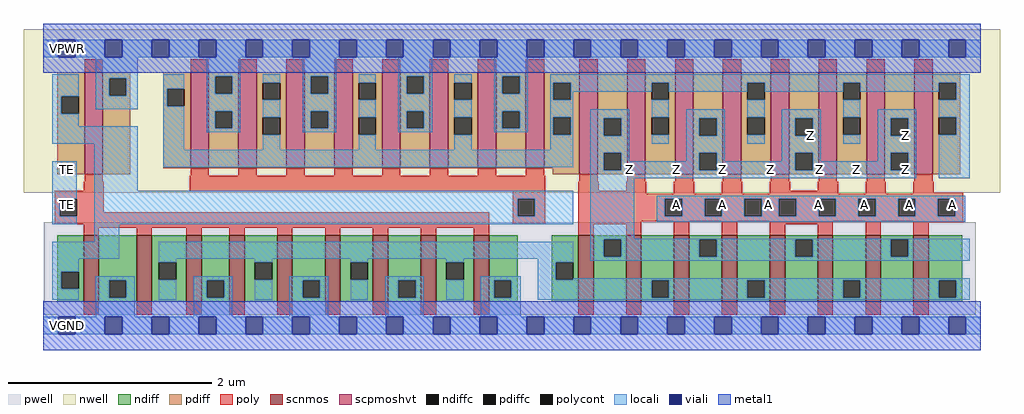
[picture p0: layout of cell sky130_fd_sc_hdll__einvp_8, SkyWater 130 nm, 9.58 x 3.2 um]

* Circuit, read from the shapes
.subckt sky130_fd_sc_hdll__einvp_8 A TE VGND VNB VPB VPWR Z
XM1 VGND TE n1 VNB sky130_fd_pr__nfet_01v8 w=0.65 l=0.15
XM2 n2 TE VGND VNB sky130_fd_pr__nfet_01v8 w=0.65 l=0.15 m=8
XM3 Z A n2 VNB sky130_fd_pr__nfet_01v8 w=0.65 l=0.15 m=8
XM4 VPWR TE n1 VPB sky130_fd_pr__pfet_01v8_hvt w=1 l=0.18
XM5 VPWR n1 n3 VPB sky130_fd_pr__pfet_01v8_hvt w=0.94 l=0.18 m=8
XM6 Z A n3 VPB sky130_fd_pr__pfet_01v8_hvt w=1 l=0.18 m=8
.ends

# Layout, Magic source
magic
tech sky130A
magscale 1 2
<< nwell >>
rect -38 261 1878 582
<< pwell >>
rect 1 21 1830 203
rect 30 -17 64 21
<< scnmos >>
rect 79 47 109 177
rect 183 47 213 177
rect 281 47 311 177
rect 365 47 395 177
rect 459 47 489 177
rect 553 47 583 177
rect 647 47 677 177
rect 741 47 771 177
rect 845 47 875 177
rect 1050 47 1080 177
rect 1144 47 1174 177
rect 1238 47 1268 177
rect 1332 47 1362 177
rect 1426 47 1456 177
rect 1520 47 1550 177
rect 1614 47 1644 177
rect 1708 47 1738 177
<< scpmoshvt >>
rect 81 297 117 497
rect 289 309 325 497
rect 383 309 419 497
rect 477 309 513 497
rect 571 309 607 497
rect 665 309 701 497
rect 759 309 795 497
rect 853 309 889 497
rect 947 309 983 497
rect 1052 297 1088 497
rect 1146 297 1182 497
rect 1240 297 1276 497
rect 1334 297 1370 497
rect 1428 297 1464 497
rect 1522 297 1558 497
rect 1616 297 1652 497
rect 1710 297 1746 497
<< ndiff >>
rect 27 106 79 177
rect 27 72 35 106
rect 69 72 79 106
rect 27 47 79 72
rect 109 89 183 177
rect 109 55 129 89
rect 163 55 183 89
rect 109 47 183 55
rect 213 124 281 177
rect 213 90 227 124
rect 261 90 281 124
rect 213 47 281 90
rect 311 89 365 177
rect 311 55 321 89
rect 355 55 365 89
rect 311 47 365 55
rect 395 124 459 177
rect 395 90 415 124
rect 449 90 459 124
rect 395 47 459 90
rect 489 89 553 177
rect 489 55 509 89
rect 543 55 553 89
rect 489 47 553 55
rect 583 124 647 177
rect 583 90 603 124
rect 637 90 647 124
rect 583 47 647 90
rect 677 89 741 177
rect 677 55 697 89
rect 731 55 741 89
rect 677 47 741 55
rect 771 124 845 177
rect 771 90 791 124
rect 825 90 845 124
rect 771 47 845 90
rect 875 89 931 177
rect 875 55 885 89
rect 919 55 931 89
rect 875 47 931 55
rect 998 124 1050 177
rect 998 90 1006 124
rect 1040 90 1050 124
rect 998 47 1050 90
rect 1080 169 1144 177
rect 1080 135 1100 169
rect 1134 135 1144 169
rect 1080 47 1144 135
rect 1174 89 1238 177
rect 1174 55 1194 89
rect 1228 55 1238 89
rect 1174 47 1238 55
rect 1268 169 1332 177
rect 1268 135 1288 169
rect 1322 135 1332 169
rect 1268 47 1332 135
rect 1362 89 1426 177
rect 1362 55 1382 89
rect 1416 55 1426 89
rect 1362 47 1426 55
rect 1456 169 1520 177
rect 1456 135 1476 169
rect 1510 135 1520 169
rect 1456 47 1520 135
rect 1550 89 1614 177
rect 1550 55 1570 89
rect 1604 55 1614 89
rect 1550 47 1614 55
rect 1644 169 1708 177
rect 1644 135 1664 169
rect 1698 135 1708 169
rect 1644 47 1708 135
rect 1738 89 1804 177
rect 1738 55 1758 89
rect 1792 55 1804 89
rect 1738 47 1804 55
<< pdiff >>
rect 27 450 81 497
rect 27 416 35 450
rect 69 416 81 450
rect 27 297 81 416
rect 117 485 171 497
rect 117 451 129 485
rect 163 451 171 485
rect 117 297 171 451
rect 235 465 289 497
rect 235 431 243 465
rect 277 431 289 465
rect 235 309 289 431
rect 325 489 383 497
rect 325 455 337 489
rect 371 455 383 489
rect 325 421 383 455
rect 325 387 337 421
rect 371 387 383 421
rect 325 309 383 387
rect 419 477 477 497
rect 419 443 431 477
rect 465 443 477 477
rect 419 409 477 443
rect 419 375 431 409
rect 465 375 477 409
rect 419 309 477 375
rect 513 489 571 497
rect 513 455 525 489
rect 559 455 571 489
rect 513 421 571 455
rect 513 387 525 421
rect 559 387 571 421
rect 513 309 571 387
rect 607 477 665 497
rect 607 443 619 477
rect 653 443 665 477
rect 607 409 665 443
rect 607 375 619 409
rect 653 375 665 409
rect 607 309 665 375
rect 701 489 759 497
rect 701 455 713 489
rect 747 455 759 489
rect 701 421 759 455
rect 701 387 713 421
rect 747 387 759 421
rect 701 309 759 387
rect 795 477 853 497
rect 795 443 807 477
rect 841 443 853 477
rect 795 409 853 443
rect 795 375 807 409
rect 841 375 853 409
rect 795 309 853 375
rect 889 489 947 497
rect 889 455 901 489
rect 935 455 947 489
rect 889 421 947 455
rect 889 387 901 421
rect 935 387 947 421
rect 889 309 947 387
rect 983 477 1052 497
rect 983 443 1001 477
rect 1035 443 1052 477
rect 983 409 1052 443
rect 983 375 1001 409
rect 1035 375 1052 409
rect 983 309 1052 375
rect 1000 297 1052 309
rect 1088 407 1146 497
rect 1088 373 1100 407
rect 1134 373 1146 407
rect 1088 339 1146 373
rect 1088 305 1100 339
rect 1134 305 1146 339
rect 1088 297 1146 305
rect 1182 477 1240 497
rect 1182 443 1194 477
rect 1228 443 1240 477
rect 1182 409 1240 443
rect 1182 375 1194 409
rect 1228 375 1240 409
rect 1182 297 1240 375
rect 1276 407 1334 497
rect 1276 373 1288 407
rect 1322 373 1334 407
rect 1276 339 1334 373
rect 1276 305 1288 339
rect 1322 305 1334 339
rect 1276 297 1334 305
rect 1370 477 1428 497
rect 1370 443 1382 477
rect 1416 443 1428 477
rect 1370 409 1428 443
rect 1370 375 1382 409
rect 1416 375 1428 409
rect 1370 297 1428 375
rect 1464 407 1522 497
rect 1464 373 1476 407
rect 1510 373 1522 407
rect 1464 339 1522 373
rect 1464 305 1476 339
rect 1510 305 1522 339
rect 1464 297 1522 305
rect 1558 477 1616 497
rect 1558 443 1570 477
rect 1604 443 1616 477
rect 1558 409 1616 443
rect 1558 375 1570 409
rect 1604 375 1616 409
rect 1558 297 1616 375
rect 1652 407 1710 497
rect 1652 373 1664 407
rect 1698 373 1710 407
rect 1652 339 1710 373
rect 1652 305 1664 339
rect 1698 305 1710 339
rect 1652 297 1710 305
rect 1746 477 1800 497
rect 1746 443 1758 477
rect 1792 443 1800 477
rect 1746 409 1800 443
rect 1746 375 1758 409
rect 1792 375 1800 409
rect 1746 297 1800 375
<< ndiffc >>
rect 35 72 69 106
rect 129 55 163 89
rect 227 90 261 124
rect 321 55 355 89
rect 415 90 449 124
rect 509 55 543 89
rect 603 90 637 124
rect 697 55 731 89
rect 791 90 825 124
rect 885 55 919 89
rect 1006 90 1040 124
rect 1100 135 1134 169
rect 1194 55 1228 89
rect 1288 135 1322 169
rect 1382 55 1416 89
rect 1476 135 1510 169
rect 1570 55 1604 89
rect 1664 135 1698 169
rect 1758 55 1792 89
<< pdiffc >>
rect 35 416 69 450
rect 129 451 163 485
rect 243 431 277 465
rect 337 455 371 489
rect 337 387 371 421
rect 431 443 465 477
rect 431 375 465 409
rect 525 455 559 489
rect 525 387 559 421
rect 619 443 653 477
rect 619 375 653 409
rect 713 455 747 489
rect 713 387 747 421
rect 807 443 841 477
rect 807 375 841 409
rect 901 455 935 489
rect 901 387 935 421
rect 1001 443 1035 477
rect 1001 375 1035 409
rect 1100 373 1134 407
rect 1100 305 1134 339
rect 1194 443 1228 477
rect 1194 375 1228 409
rect 1288 373 1322 407
rect 1288 305 1322 339
rect 1382 443 1416 477
rect 1382 375 1416 409
rect 1476 373 1510 407
rect 1476 305 1510 339
rect 1570 443 1604 477
rect 1570 375 1604 409
rect 1664 373 1698 407
rect 1664 305 1698 339
rect 1758 443 1792 477
rect 1758 375 1792 409
<< poly >>
rect 81 497 117 523
rect 289 497 325 523
rect 383 497 419 523
rect 477 497 513 523
rect 571 497 607 523
rect 665 497 701 523
rect 759 497 795 523
rect 853 497 889 523
rect 947 497 983 523
rect 1052 497 1088 523
rect 1146 497 1182 523
rect 1240 497 1276 523
rect 1334 497 1370 523
rect 1428 497 1464 523
rect 1522 497 1558 523
rect 1616 497 1652 523
rect 1710 497 1746 523
rect 81 282 117 297
rect 289 294 325 309
rect 383 294 419 309
rect 477 294 513 309
rect 571 294 607 309
rect 665 294 701 309
rect 759 294 795 309
rect 853 294 889 309
rect 947 294 983 309
rect 79 265 119 282
rect 22 249 119 265
rect 287 264 985 294
rect 1052 282 1088 297
rect 1146 282 1182 297
rect 1240 282 1276 297
rect 1334 282 1370 297
rect 1428 282 1464 297
rect 1522 282 1558 297
rect 1616 282 1652 297
rect 1710 282 1746 297
rect 22 215 32 249
rect 66 222 119 249
rect 921 249 985 264
rect 66 215 875 222
rect 22 199 875 215
rect 921 215 931 249
rect 965 215 985 249
rect 921 199 985 215
rect 1050 265 1090 282
rect 1144 265 1184 282
rect 1050 259 1184 265
rect 1238 259 1278 282
rect 1332 259 1372 282
rect 1426 265 1466 282
rect 1520 265 1560 282
rect 1426 259 1560 265
rect 1614 259 1654 282
rect 1708 261 1748 282
rect 1708 259 1806 261
rect 1050 249 1806 259
rect 1050 215 1220 249
rect 1254 215 1298 249
rect 1332 215 1376 249
rect 1410 215 1444 249
rect 1478 215 1522 249
rect 1556 215 1600 249
rect 1634 215 1678 249
rect 1712 215 1756 249
rect 1790 215 1806 249
rect 1050 205 1806 215
rect 1050 199 1174 205
rect 79 192 875 199
rect 79 177 109 192
rect 183 177 213 192
rect 281 177 311 192
rect 365 177 395 192
rect 459 177 489 192
rect 553 177 583 192
rect 647 177 677 192
rect 741 177 771 192
rect 845 177 875 192
rect 1050 177 1080 199
rect 1144 177 1174 199
rect 1238 177 1268 205
rect 1332 177 1362 205
rect 1426 199 1550 205
rect 1426 177 1456 199
rect 1520 177 1550 199
rect 1614 177 1644 205
rect 1708 203 1806 205
rect 1708 177 1738 203
rect 79 21 109 47
rect 183 21 213 47
rect 281 21 311 47
rect 365 21 395 47
rect 459 21 489 47
rect 553 21 583 47
rect 647 21 677 47
rect 741 21 771 47
rect 845 21 875 47
rect 1050 21 1080 47
rect 1144 21 1174 47
rect 1238 21 1268 47
rect 1332 21 1362 47
rect 1426 21 1456 47
rect 1520 21 1550 47
rect 1614 21 1644 47
rect 1708 21 1738 47
<< polycont >>
rect 32 215 66 249
rect 931 215 965 249
rect 1220 215 1254 249
rect 1298 215 1332 249
rect 1376 215 1410 249
rect 1444 215 1478 249
rect 1522 215 1556 249
rect 1600 215 1634 249
rect 1678 215 1712 249
rect 1756 215 1790 249
<< locali >>
rect 0 527 29 561
rect 63 527 121 561
rect 155 527 213 561
rect 247 527 305 561
rect 339 527 397 561
rect 431 527 489 561
rect 523 527 581 561
rect 615 527 673 561
rect 707 527 765 561
rect 799 527 857 561
rect 891 527 949 561
rect 983 527 1041 561
rect 1075 527 1133 561
rect 1167 527 1225 561
rect 1259 527 1317 561
rect 1351 527 1409 561
rect 1443 527 1501 561
rect 1535 527 1593 561
rect 1627 527 1685 561
rect 1719 527 1777 561
rect 1811 527 1840 561
rect 17 450 69 493
rect 17 416 35 450
rect 103 485 185 527
rect 103 451 129 485
rect 163 451 185 485
rect 103 425 185 451
rect 235 465 277 493
rect 235 431 243 465
rect 17 391 69 416
rect 17 357 185 391
rect 17 249 66 323
rect 17 215 32 249
rect 17 199 66 215
rect 100 265 185 357
rect 235 345 277 431
rect 321 489 387 527
rect 321 455 337 489
rect 371 455 387 489
rect 321 421 387 455
rect 321 387 337 421
rect 371 387 387 421
rect 321 379 387 387
rect 431 477 465 493
rect 431 409 465 443
rect 509 489 575 527
rect 509 455 525 489
rect 559 455 575 489
rect 509 421 575 455
rect 509 387 525 421
rect 559 387 575 421
rect 509 379 575 387
rect 619 477 653 493
rect 619 409 653 443
rect 431 345 465 375
rect 697 489 763 527
rect 697 455 713 489
rect 747 455 763 489
rect 697 421 763 455
rect 697 387 713 421
rect 747 387 763 421
rect 697 379 763 387
rect 807 477 841 493
rect 807 409 841 443
rect 619 345 653 375
rect 885 489 951 527
rect 885 455 901 489
rect 935 455 951 489
rect 885 421 951 455
rect 885 387 901 421
rect 935 387 951 421
rect 885 379 951 387
rect 995 477 1819 493
rect 995 443 1001 477
rect 1035 459 1194 477
rect 1035 443 1040 459
rect 995 409 1040 443
rect 1228 459 1382 477
rect 807 345 841 375
rect 995 375 1001 409
rect 1035 375 1040 409
rect 995 345 1040 375
rect 235 311 1040 345
rect 1074 407 1150 425
rect 1074 373 1100 407
rect 1134 373 1150 407
rect 1074 339 1150 373
rect 1194 409 1228 443
rect 1416 459 1570 477
rect 1194 357 1228 375
rect 1262 407 1338 425
rect 1262 373 1288 407
rect 1322 373 1338 407
rect 1074 305 1100 339
rect 1134 323 1150 339
rect 1262 339 1338 373
rect 1382 409 1416 443
rect 1604 459 1758 477
rect 1382 357 1416 375
rect 1450 407 1526 425
rect 1450 373 1476 407
rect 1510 373 1526 407
rect 1262 323 1288 339
rect 1134 305 1288 323
rect 1322 323 1338 339
rect 1450 339 1526 373
rect 1570 409 1604 443
rect 1792 443 1819 477
rect 1570 357 1604 375
rect 1638 407 1714 425
rect 1638 373 1664 407
rect 1698 373 1714 407
rect 1450 323 1476 339
rect 1322 305 1476 323
rect 1510 323 1526 339
rect 1638 339 1714 373
rect 1638 323 1664 339
rect 1510 305 1664 323
rect 1698 305 1714 339
rect 1074 289 1714 305
rect 1758 409 1819 443
rect 1792 375 1819 409
rect 1758 289 1819 375
rect 100 249 1040 265
rect 100 215 931 249
rect 965 215 1040 249
rect 100 199 1040 215
rect 100 165 149 199
rect 1074 170 1160 289
rect 1204 249 1810 255
rect 1204 215 1220 249
rect 1254 215 1298 249
rect 1332 215 1376 249
rect 1410 215 1444 249
rect 1478 215 1522 249
rect 1556 215 1600 249
rect 1634 215 1678 249
rect 1712 215 1756 249
rect 1790 215 1810 249
rect 1204 204 1810 215
rect 1074 169 1819 170
rect 17 131 149 165
rect 227 131 1040 165
rect 17 106 69 131
rect 17 72 35 106
rect 227 124 261 131
rect 17 51 69 72
rect 103 89 179 97
rect 103 55 129 89
rect 163 55 179 89
rect 103 17 179 55
rect 415 124 449 131
rect 227 51 261 90
rect 295 89 371 97
rect 295 55 321 89
rect 355 55 371 89
rect 295 17 371 55
rect 603 124 637 131
rect 415 51 449 90
rect 483 89 559 97
rect 483 55 509 89
rect 543 55 559 89
rect 483 17 559 55
rect 791 124 825 131
rect 603 51 637 90
rect 671 89 747 97
rect 671 55 697 89
rect 731 55 747 89
rect 671 17 747 55
rect 971 124 1040 131
rect 1074 135 1100 169
rect 1134 135 1288 169
rect 1322 135 1476 169
rect 1510 135 1664 169
rect 1698 135 1819 169
rect 1074 127 1819 135
rect 791 51 825 90
rect 859 89 937 97
rect 859 55 885 89
rect 919 55 937 89
rect 859 17 937 55
rect 971 90 1006 124
rect 1040 90 1819 93
rect 971 89 1819 90
rect 971 55 1194 89
rect 1228 55 1382 89
rect 1416 55 1570 89
rect 1604 55 1758 89
rect 1792 55 1819 89
rect 971 51 1819 55
rect 0 -17 29 17
rect 63 -17 121 17
rect 155 -17 213 17
rect 247 -17 305 17
rect 339 -17 397 17
rect 431 -17 489 17
rect 523 -17 581 17
rect 615 -17 673 17
rect 707 -17 765 17
rect 799 -17 857 17
rect 891 -17 949 17
rect 983 -17 1041 17
rect 1075 -17 1133 17
rect 1167 -17 1225 17
rect 1259 -17 1317 17
rect 1351 -17 1409 17
rect 1443 -17 1501 17
rect 1535 -17 1593 17
rect 1627 -17 1685 17
rect 1719 -17 1777 17
rect 1811 -17 1840 17
<< viali >>
rect 29 527 63 561
rect 121 527 155 561
rect 213 527 247 561
rect 305 527 339 561
rect 397 527 431 561
rect 489 527 523 561
rect 581 527 615 561
rect 673 527 707 561
rect 765 527 799 561
rect 857 527 891 561
rect 949 527 983 561
rect 1041 527 1075 561
rect 1133 527 1167 561
rect 1225 527 1259 561
rect 1317 527 1351 561
rect 1409 527 1443 561
rect 1501 527 1535 561
rect 1593 527 1627 561
rect 1685 527 1719 561
rect 1777 527 1811 561
rect 29 -17 63 17
rect 121 -17 155 17
rect 213 -17 247 17
rect 305 -17 339 17
rect 397 -17 431 17
rect 489 -17 523 17
rect 581 -17 615 17
rect 673 -17 707 17
rect 765 -17 799 17
rect 857 -17 891 17
rect 949 -17 983 17
rect 1041 -17 1075 17
rect 1133 -17 1167 17
rect 1225 -17 1259 17
rect 1317 -17 1351 17
rect 1409 -17 1443 17
rect 1501 -17 1535 17
rect 1593 -17 1627 17
rect 1685 -17 1719 17
rect 1777 -17 1811 17
<< metal1 >>
rect 0 561 1840 592
rect 0 527 29 561
rect 63 527 121 561
rect 155 527 213 561
rect 247 527 305 561
rect 339 527 397 561
rect 431 527 489 561
rect 523 527 581 561
rect 615 527 673 561
rect 707 527 765 561
rect 799 527 857 561
rect 891 527 949 561
rect 983 527 1041 561
rect 1075 527 1133 561
rect 1167 527 1225 561
rect 1259 527 1317 561
rect 1351 527 1409 561
rect 1443 527 1501 561
rect 1535 527 1593 561
rect 1627 527 1685 561
rect 1719 527 1777 561
rect 1811 527 1840 561
rect 0 496 1840 527
rect 0 17 1840 48
rect 0 -17 29 17
rect 63 -17 121 17
rect 155 -17 213 17
rect 247 -17 305 17
rect 339 -17 397 17
rect 431 -17 489 17
rect 523 -17 581 17
rect 615 -17 673 17
rect 707 -17 765 17
rect 799 -17 857 17
rect 891 -17 949 17
rect 983 -17 1041 17
rect 1075 -17 1133 17
rect 1167 -17 1225 17
rect 1259 -17 1317 17
rect 1351 -17 1409 17
rect 1443 -17 1501 17
rect 1535 -17 1593 17
rect 1627 -17 1685 17
rect 1719 -17 1777 17
rect 1811 -17 1840 17
rect 0 -48 1840 -17
<< labels >>
flabel locali s 1317 221 1351 255 0 FreeSans 200 0 0 0 A
port 1 nsew signal input
flabel locali s 1226 221 1260 255 0 FreeSans 200 0 0 0 A
port 1 nsew signal input
flabel locali s 1595 221 1629 255 0 FreeSans 200 0 0 0 A
port 1 nsew signal input
flabel locali s 1504 221 1538 255 0 FreeSans 200 0 0 0 A
port 1 nsew signal input
flabel locali s 1407 221 1441 255 0 FreeSans 200 0 0 0 A
port 1 nsew signal input
flabel locali s 1676 289 1710 323 0 FreeSans 200 0 0 0 Z
port 7 nsew signal output
flabel locali s 1489 357 1523 391 0 FreeSans 200 0 0 0 Z
port 7 nsew signal output
flabel locali s 1523 306 1523 306 0 FreeSans 200 0 0 0 Z
port 7 nsew
flabel locali s 1410 289 1444 323 0 FreeSans 200 0 0 0 Z
port 7 nsew
flabel locali s 30 221 64 255 0 FreeSans 200 0 0 0 TE
port 2 nsew signal input
flabel locali s 30 289 64 323 0 FreeSans 200 0 0 0 TE
port 2 nsew signal input
flabel locali s 1133 289 1167 323 0 FreeSans 200 0 0 0 Z
port 7 nsew
flabel locali s 1316 289 1350 323 0 FreeSans 200 0 0 0 Z
port 7 nsew
flabel locali s 1226 289 1260 323 0 FreeSans 200 0 0 0 Z
port 7 nsew
flabel locali s 1683 221 1717 255 0 FreeSans 200 0 0 0 A
port 1 nsew signal input
flabel locali s 1768 221 1802 255 0 FreeSans 200 0 0 0 A
port 1 nsew signal input
flabel locali s 1676 357 1710 391 0 FreeSans 200 0 0 0 Z
port 7 nsew
flabel locali s 1580 289 1614 323 0 FreeSans 200 0 0 0 Z
port 7 nsew
flabel metal1 s 30 527 64 561 0 FreeSans 200 0 0 0 VPWR
port 6 nsew power bidirectional
flabel metal1 s 30 -17 64 17 0 FreeSans 200 0 0 0 VGND
port 3 nsew ground bidirectional
flabel nwell s 30 527 64 561 0 FreeSans 200 0 0 0 VPB
port 5 nsew power bidirectional
flabel pwell s 30 -17 64 17 0 FreeSans 200 0 0 0 VNB
port 4 nsew ground bidirectional
<< properties >>
string LEFsite unithd
string LEFclass CORE
string FIXED_BBOX 0 0 1840 544
string GDS_FILE $PDKPATH/libs.ref/sky130_fd_sc_hdll/gds/sky130_fd_sc_hdll.gds
string LEFsymmetry X Y R90
string GDS_END 2093062
string GDS_START 2079782
string LEFproperties maskLayoutSubType "abstract" prCellType "standard" originalViewName "layout"
<< end >>
